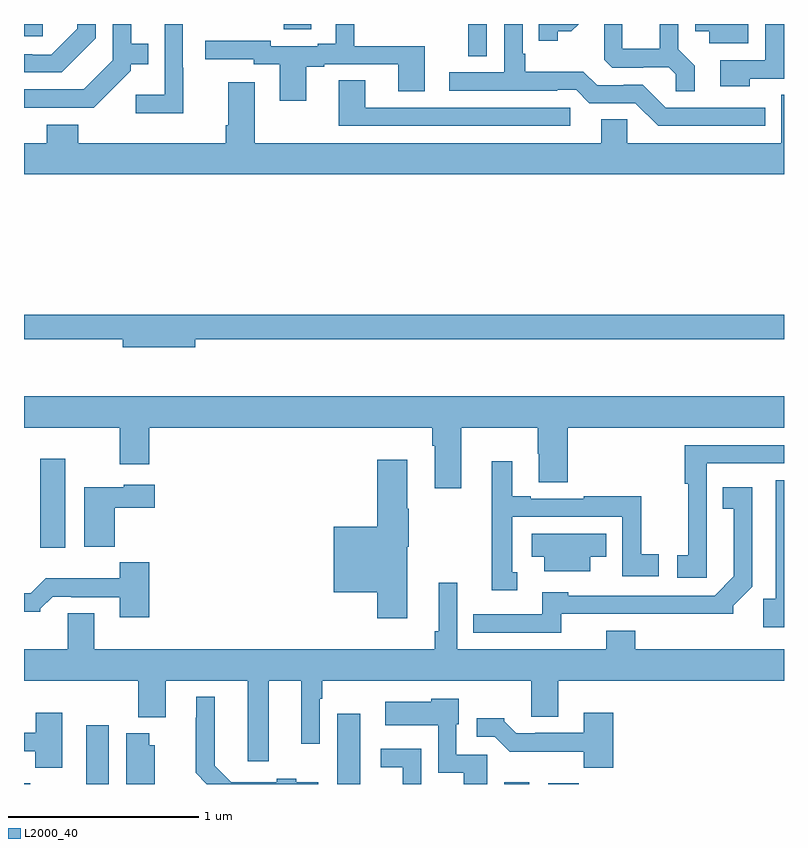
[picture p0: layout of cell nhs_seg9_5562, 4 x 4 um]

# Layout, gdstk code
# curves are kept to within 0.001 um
import gdstk
lib = gdstk.Library(unit=1e-6, precision=1e-09)
def R(c, l, rs):  # rectangles x0, y0, x1, y1
    for r in rs: c.add(gdstk.rectangle(r[:2], r[2:], *l))
def P(c, l, *ps):  # polygons
    for p in ps: c.add(gdstk.Polygon(p, *l))
L2000_40 = (2000, 40)

nhs_seg9_5562 = lib.new_cell('nhs_seg9_5562')
R(nhs_seg9_5562, L2000_40, [(433,1238.5,433.034,1238.503), (433.328,1238.5,433.447,1238.809), (434.648,1238.5,434.77,1238.869), (435.527,1238.5,435.658,1238.509), (435.758,1238.5,435.92,1238.503), (433.085,1239.744,433.216,1240.213), (435.337,1242.331,435.435,1242.5), (433,1242.435,433.099,1242.5), (434.367,1242.473,434.512,1242.5)])
P(nhs_seg9_5562, L2000_40, [(433.037,1242.06),(433.368,1242.06),(433.563,1242.255),(433.563,1242.287),(433.655,1242.287),(433.655,1242.397),(433.564,1242.397),(433.564,1242.5),(433.467,1242.5),(433.467,1242.309),(433.314,1242.156),(433,1242.156),(433,1242.059)],
  [(434.485,1242.276),(434.581,1242.276),(434.581,1242.288),(434.969,1242.288),(434.969,1242.145),(435.109,1242.145),(435.109,1242.384),(434.739,1242.384),(434.739,1242.5),(434.642,1242.5),(434.642,1242.397),(434.546,1242.397),(434.546,1242.384),(434.298,1242.384),(434.298,1242.411),(433.953,1242.411),(433.953,1242.315),(434.208,1242.315),(434.208,1242.288),(434.345,1242.288),(434.345,1242.096),(434.485,1242.096)],
  [(436.813,1242.5),(436.532,1242.5),(436.532,1242.461),(436.607,1242.461),(436.607,1242.398),(436.813,1242.398)],
  [(436.821,1242.213),(437,1242.213),(437,1242.5),(436.902,1242.5),(436.902,1242.309),(436.665,1242.309),(436.665,1242.173),(436.821,1242.173)],
  [(435.81,1242.461),(435.88,1242.461),(435.919,1242.5),(435.709,1242.5),(435.709,1242.411),(435.81,1242.411)],
  [(436.529,1242.281),(436.443,1242.367),(436.443,1242.5),(436.346,1242.5),(436.346,1242.37),(436.148,1242.37),(436.148,1242.5),(436.054,1242.5),(436.054,1242.311),(436.095,1242.27),(436.26,1242.27),(436.26,1242.273),(436.394,1242.273),(436.431,1242.236),(436.431,1242.145),(436.529,1242.145)],
  [(436.9,1242.06),(436.377,1242.06),(436.257,1242.18),(436.156,1242.18),(436.156,1242.177),(436.017,1242.177),(435.944,1242.25),(435.637,1242.25),(435.637,1242.343),(435.624,1242.343),(435.624,1242.5),(435.528,1242.5),(435.528,1242.246),(435.237,1242.246),(435.237,1242.15),(435.806,1242.15),(435.806,1242.153),(435.906,1242.153),(435.975,1242.084),(436.218,1242.084),(436.338,1241.964),(436.9,1241.964)],
  [(433.839,1242.269),(433.836,1242.269),(433.836,1242.5),(433.74,1242.5),(433.74,1242.127),(433.587,1242.127),(433.587,1242.029),(433.839,1242.029)],
  [(433.377,1242.425),(433.377,1242.5),(433.28,1242.5),(433.28,1242.476),(433.143,1242.339),(433.043,1242.339),(433.043,1242.342),(433,1242.342),(433,1242.246),(433.198,1242.246)],
  [(435.874,1242.06),(434.797,1242.06),(434.797,1242.203),(434.657,1242.203),(434.657,1241.964),(435.874,1241.964)],
  [(437,1242.128),(436.985,1242.128),(436.985,1241.872),(436.176,1241.872),(436.176,1241.999),(436.037,1241.999),(436.037,1241.872),(434.215,1241.872),(434.215,1242.193),(434.075,1242.193),(434.075,1241.968),(434.063,1241.968),(434.063,1241.872),(433.286,1241.872),(433.286,1241.971),(433.121,1241.971),(433.121,1241.872),(433,1241.872),(433,1241.708),(437,1241.708)],
  [(433.9,1240.842),(437,1240.842),(437,1240.97),(433,1240.97),(433,1240.842),(433.52,1240.842),(433.52,1240.799),(433.9,1240.799)],
  [(435.301,1240.376),(435.703,1240.376),(435.703,1240.238),(435.71,1240.238),(435.71,1240.087),(435.863,1240.087),(435.863,1240.376),(437,1240.376),(437,1240.54),(433,1240.54),(433,1240.376),(433.505,1240.376),(433.505,1240.182),(433.658,1240.182),(433.658,1240.376),(435.149,1240.376),(435.149,1240.28),(435.161,1240.28),(435.161,1240.056),(435.301,1240.056)],
  [(436.594,1239.86),(436.593,1239.86),(436.593,1240.188),(437,1240.188),(437,1240.284),(436.477,1240.284),(436.477,1240.081),(436.495,1240.081),(436.495,1239.705),(436.437,1239.705),(436.437,1239.585),(436.594,1239.585)],
  [(435.016,1239.749),(435.024,1239.749),(435.024,1239.949),(435.016,1239.949),(435.016,1240.207),(434.858,1240.207),(434.858,1239.853),(434.63,1239.853),(434.63,1239.509),(434.858,1239.509),(434.858,1239.372),(435.016,1239.372)],
  [(435.595,1239.615),(435.57,1239.615),(435.57,1239.906),(436.149,1239.906),(436.149,1239.594),(436.342,1239.594),(436.342,1239.71),(436.248,1239.71),(436.248,1240.015),(435.946,1240.015),(435.946,1240.002),(435.667,1240.002),(435.667,1240.015),(435.571,1240.015),(435.571,1240.198),(435.461,1240.198),(435.461,1239.953),(435.462,1239.953),(435.462,1239.521),(435.595,1239.521)],
  [(437,1240.098),(436.956,1240.098),(436.956,1239.475),(436.891,1239.475),(436.891,1239.324),(437,1239.324)],
  [(433.478,1239.953),(433.687,1239.953),(433.687,1240.075),(433.524,1240.075),(433.524,1240.063),(433.316,1240.063),(433.316,1239.749),(433.478,1239.749)],
  [(435.828,1239.396),(436.734,1239.395),(436.734,1239.439),(436.833,1239.538),(436.833,1240.063),(436.678,1240.063),(436.678,1239.95),(436.736,1239.95),(436.736,1239.593),(436.635,1239.492),(435.864,1239.492),(435.864,1239.508),(435.728,1239.508),(435.728,1239.393),(435.364,1239.393),(435.364,1239.297),(435.828,1239.297)],
  [(435.979,1239.695),(436.064,1239.695),(436.064,1239.817),(435.672,1239.817),(435.672,1239.695),(435.737,1239.695),(435.737,1239.62),(435.979,1239.62)],
  [(433.658,1239.667),(433.503,1239.667),(433.503,1239.583),(433.114,1239.583),(433.035,1239.504),(433,1239.504),(433,1239.407),(433.086,1239.407),(433.086,1239.422),(433.15,1239.486),(433.249,1239.486),(433.249,1239.483),(433.505,1239.483),(433.505,1239.378),(433.658,1239.378)],
  [(433.369,1239.398),(433.229,1239.398),(433.229,1239.208),(433,1239.208),(433,1239.044),(433.6,1239.044),(433.6,1238.852),(433.747,1238.852),(433.747,1239.044),(434.177,1239.044),(434.177,1238.619),(434.287,1238.619),(434.287,1239.044),(434.459,1239.044),(434.459,1238.712),(434.556,1238.712),(434.556,1238.948),(434.569,1238.948),(434.569,1239.044),(435.671,1239.044),(435.671,1238.854),(435.811,1238.854),(435.811,1239.044),(437,1239.044),(437,1239.208),(436.217,1239.208),(436.217,1239.307),(436.064,1239.307),(436.064,1239.208),(435.279,1239.208),(435.279,1239.559),(435.182,1239.559),(435.182,1239.304),(435.163,1239.304),(435.163,1239.208),(433.369,1239.208)],
  [(434.548,1238.51),(434.432,1238.51),(434.432,1238.528),(434.33,1238.528),(434.33,1238.508),(434.092,1238.508),(434.005,1238.596),(434.005,1238.959),(433.907,1238.959),(433.907,1238.849),(433.903,1238.849),(433.903,1238.558),(433.961,1238.5),(434.548,1238.5)],
  [(435.439,1238.655),(435.276,1238.655),(435.276,1238.814),(435.289,1238.814),(435.289,1238.95),(435.144,1238.95),(435.144,1238.932),(434.901,1238.932),(434.901,1238.81),(435.18,1238.81),(435.18,1238.558),(435.314,1238.558),(435.314,1238.5),(435.439,1238.5)],
  [(433.201,1238.875),(433.061,1238.875),(433.061,1238.769),(433,1238.769),(433,1238.672),(433.059,1238.672),(433.059,1238.585),(433.201,1238.585)],
  [(436.1,1238.875),(435.947,1238.875),(435.947,1238.769),(435.691,1238.769),(435.691,1238.766),(435.592,1238.766),(435.528,1238.83),(435.528,1238.845),(435.384,1238.845),(435.384,1238.748),(435.477,1238.748),(435.556,1238.67),(435.945,1238.67),(435.945,1238.585),(436.1,1238.585)],
  [(433.687,1238.703),(433.66,1238.703),(433.66,1238.767),(433.538,1238.767),(433.538,1238.5),(433.687,1238.5)],
  [(435.09,1238.685),(434.877,1238.685),(434.877,1238.589),(434.994,1238.589),(434.994,1238.5),(435.09,1238.5)])

lib.write_gds('nhs_seg9_5562.gds')
